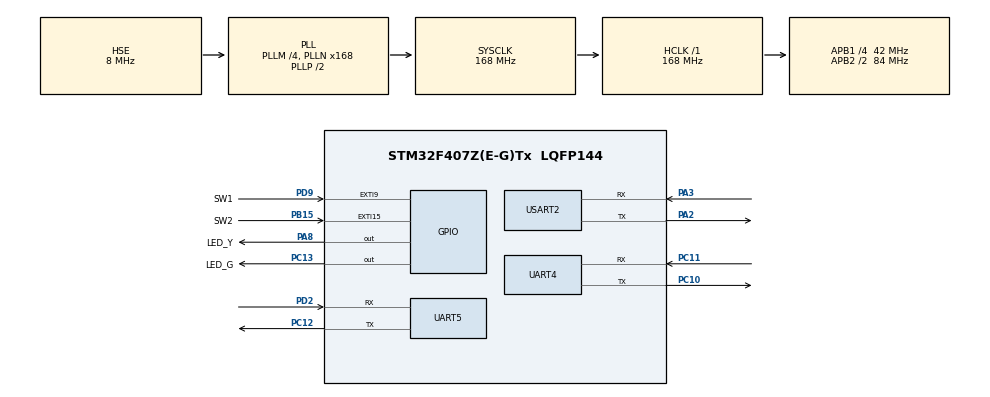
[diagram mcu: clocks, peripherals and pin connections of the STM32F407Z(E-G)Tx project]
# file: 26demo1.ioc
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Dma.Request0=USART2_RX
Dma.Request1=USART2_TX
Dma.Request2=UART4_RX
Dma.UART4_RX.2.Direction=DMA_PERIPH_TO_MEMORY
Dma.UART4_RX.2.FIFOMode=DMA_FIFOMODE_DISABLE
Dma.UART4_RX.2.Instance=DMA1_Stream2
Dma.UART4_RX.2.MemDataAlignment=DMA_MDATAALIGN_BYTE
Dma.UART4_RX.2.MemInc=DMA_MINC_DISABLE
Dma.UART4_RX.2.Mode=DMA_CIRCULAR
Dma.UART4_RX.2.PeriphDataAlignment=DMA_PDATAALIGN_BYTE
Dma.UART4_RX.2.PeriphInc=DMA_PINC_DISABLE
Dma.UART4_RX.2.Priority=DMA_PRIORITY_MEDIUM
Dma.USART2_RX.0.Direction=DMA_PERIPH_TO_MEMORY
Dma.USART2_RX.0.FIFOMode=DMA_FIFOMODE_DISABLE
Dma.USART2_RX.0.Instance=DMA1_Stream5
Dma.USART2_RX.0.MemDataAlignment=DMA_MDATAALIGN_BYTE
Dma.USART2_RX.0.MemInc=DMA_MINC_ENABLE
Dma.USART2_RX.0.Mode=DMA_NORMAL
Dma.USART2_RX.0.PeriphDataAlignment=DMA_PDATAALIGN_BYTE
Dma.USART2_RX.0.PeriphInc=DMA_PINC_DISABLE
Dma.USART2_RX.0.Priority=DMA_PRIORITY_MEDIUM
Dma.USART2_TX.1.Direction=DMA_MEMORY_TO_PERIPH
Dma.USART2_TX.1.FIFOMode=DMA_FIFOMODE_DISABLE
Dma.USART2_TX.1.Instance=DMA1_Stream6
Dma.USART2_TX.1.MemDataAlignment=DMA_MDATAALIGN_BYTE
Dma.USART2_TX.1.MemInc=DMA_MINC_ENABLE
Dma.USART2_TX.1.Mode=DMA_NORMAL
Dma.USART2_TX.1.PeriphDataAlignment=DMA_PDATAALIGN_BYTE
Dma.USART2_TX.1.PeriphInc=DMA_PINC_DISABLE
Dma.USART2_TX.1.Priority=DMA_PRIORITY_MEDIUM
Mcu.Family=STM32F4
Mcu.Name=STM32F407Z(E-G)Tx
Mcu.Package=LQFP144
NVIC.DMA1_Stream2_IRQn=true\:0\:0\:false\:false\:true\:false\:true\:true
NVIC.DMA1_Stream5_IRQn=true\:0\:0\:false\:false\:true\:false\:true\:true
NVIC.DMA1_Stream6_IRQn=true\:0\:0\:false\:false\:true\:false\:true\:true
NVIC.EXTI15_10_IRQn=true\:3\:0\:true\:false\:true\:true\:true\:true
NVIC.EXTI9_5_IRQn=true\:2\:0\:true\:false\:true\:true\:true\:true
NVIC.PriorityGroup=NVIC_PRIORITYGROUP_4
NVIC.TIM1_UP_TIM10_IRQn=true\:0\:0\:false\:false\:true\:true\:true\:true
NVIC.UART4_IRQn=true\:5\:0\:true\:false\:true\:true\:true\:true
NVIC.UART5_IRQn=true\:5\:0\:true\:false\:true\:true\:true\:true
NVIC.USART2_IRQn=true\:5\:0\:true\:false\:true\:true\:true\:true
PA13.Mode=Serial_Wire
PA13.Signal=SYS_JTMS-SWDIO
PA14.Mode=Serial_Wire
PA14.Signal=SYS_JTCK-SWCLK
PA2.Mode=Asynchronous
PA2.Signal=USART2_TX
PA3.Mode=Asynchronous
PA3.Signal=USART2_RX
PA8.GPIO_Label=LED_Y
PA8.PinState=GPIO_PIN_RESET
PA8.Signal=GPIO_Output
PB15.GPIO_Label=SW2
PB15.GPIO_ModeDefaultEXTI=GPIO_MODE_IT_FALLING
PB15.GPIO_PuPd=GPIO_PULLUP
PB15.Signal=GPXTI15
PC10.Mode=Asynchronous
PC10.Signal=UART4_TX
PC11.Mode=Asynchronous
PC11.Signal=UART4_RX
PC12.Mode=Asynchronous
PC12.Signal=UART5_TX
PC13-ANTI_TAMP.GPIO_Label=LED_G
PC13-ANTI_TAMP.PinState=GPIO_PIN_SET
PC13-ANTI_TAMP.Signal=GPIO_Output
PD2.Mode=Asynchronous
PD2.Signal=UART5_RX
PD9.GPIO_Label=SW1
PD9.GPIO_ModeDefaultEXTI=GPIO_MODE_IT_FALLING
PD9.GPIO_PuPd=GPIO_PULLUP
PD9.Signal=GPXTI9
PH0-OSC_IN.Mode=HSE-External-Oscillator
PH0-OSC_IN.Signal=RCC_OSC_IN
PH1-OSC_OUT.Mode=HSE-External-Oscillator
PH1-OSC_OUT.Signal=RCC_OSC_OUT
ProjectManager.HeapSize=0x200
ProjectManager.StackSize=0x400
ProjectManager.TargetToolchain=STM32CubeIDE
RCC.48MHZClocksFreq_Value=84000000
RCC.AHBFreq_Value=168000000
RCC.APB1CLKDivider=RCC_HCLK_DIV4
RCC.APB1Freq_Value=42000000
RCC.APB1TimFreq_Value=84000000
RCC.APB2CLKDivider=RCC_HCLK_DIV2
RCC.APB2Freq_Value=84000000
RCC.APB2TimFreq_Value=168000000
RCC.CortexFreq_Value=168000000
RCC.HCLKFreq_Value=168000000
RCC.HSE_VALUE=8000000
RCC.HSI_VALUE=16000000
RCC.LSE_VALUE=32768
RCC.PLLM=4
RCC.PLLN=168
RCC.PLLSourceVirtual=RCC_PLLSOURCE_HSE
RCC.SYSCLKFreq_VALUE=168000000
RCC.SYSCLKSource=RCC_SYSCLKSOURCE_PLLCLK
RCC.VCOOutputFreq_Value=336000000
TIM1.AutoReloadPreload=TIM_AUTORELOAD_PRELOAD_ENABLE
TIM1.Period=499
TIM1.Prescaler=16799
UART4.VirtualMode=Asynchronous
UART5.VirtualMode=Asynchronous
USART2.VirtualMode=VM_ASYNC
VP_TIM1_VS_ClockSourceINT.Mode=Internal
board=custom

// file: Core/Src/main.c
/* USER CODE BEGIN Header */
/**
  ******************************************************************************
  * @file           : main.c
  * @brief          : Main program body
  ******************************************************************************
  * @attention
  *
  * Copyright (c) 2026 STMicroelectronics.
  * All rights reserved.
  *
  * This software is licensed under terms that can be found in the LICENSE file
  * in the root directory of this software component.
  * If no LICENSE file comes with this software, it is provided AS-IS.
  *
  ******************************************************************************
  */
/* USER CODE END Header */
#include "main.h"
#include "dma.h"
#include "tim.h"
#include "usart.h"
#include "gpio.h"

/* USER CODE BEGIN Includes */
#include "Emm_V5.h"
#include "stdio.h"
#include "pid.h"
/* USER CODE END Includes */

/* USER CODE BEGIN PTD */
volatile uint8_t mode=0,last_mode=0,start=0;
volatile uint8_t SW1_state=1,SW2_state=1;
volatile int16_t last_out=0,now_out=0;
volatile uint8_t flag=0,flag1=1;
volatile uint32_t tim=0,tim_1=0,tim_2=0;
/* USER CODE END PTD */

/* USER CODE BEGIN PD */
const int16_t pulse_up[151] = {
    0, 27, 54, 81, 108, 135, 162, 189, 217, 244,
    271, 299, 326, 354, 382, 409, 437, 465, 493, 521,
    549, 577, 605, 633, 661, 690, 718, 747, 775, 804,
    832, 861, 890, 919, 948, 977, 1006, 1035, 1065, 1094,
    1124, 1153, 1183, 1212, 1242, 1272, 1302, 1332, 1362, 1393,
    1423, 1453, 1484, 1515, 1545, 1576, 1607, 1638, 1669, 1701,
    1732, 1763, 1795, 1827, 1858, 1890, 1922, 1955, 1987, 2019,
    2052, 2085, 2117, 2150, 2183, 2216, 2250, 2283, 2317, 2351,
    2385, 2419, 2453, 2487, 2522, 2556, 2591, 2626, 2662, 2697,
    2733, 2768, 2804, 2840, 2877, 2913, 2950, 2987, 3024, 3061,
    3099, 3136, 3174, 3212, 3251, 3290, 3329, 3368, 3407, 3447,
    3487, 3527, 3568, 3608, 3650, 3691, 3733, 3775, 3817, 3860,
    3903, 3946, 3990, 4034, 4079, 4124, 4169, 4215, 4262, 4308,
    4356, 4403, 4451, 4500, 4550, 4599, 4650, 4701, 4753, 4805,
    4858, 4912, 4966, 5022, 5078, 5135, 5193, 5252, 5312, 5373,
    5435
};
const int16_t pulse_down[151] = {
    0, -27, -54, -80, -107, -134, -160, -187, -213, -240,
    -266, -293, -319, -345, -372, -398, -424, -450, -476, -502,
    -528, -554, -580, -606, -632, -658, -683, -709, -735, -760,
    -786, -811, -837, -862, -888, -913, -939, -964, -989, -1015,
    -1040, -1065, -1090, -1115, -1141, -1166, -1191, -1216, -1241, -1266,
    -1291, -1316, -1340, -1365, -1390, -1415, -1440, -1464, -1489, -1514,
    -1539, -1563, -1588, -1612, -1637, -1661, -1686, -1710, -1735, -1759,
    -1784, -1808, -1833, -1857, -1881, -1906, -1930, -1954, -1978, -2003,
    -2027, -2051, -2075, -2099, -2123, -2147, -2172, -2196, -2220, -2244,
    -2268, -2292, -2316, -2340, -2364, -2387, -2411, -2435, -2459, -2483,
    -2507, -2531, -2555, -2578, -2602, -2626, -2650, -2673, -2697, -2721,
    -2744, -2768, -2792, -2816, -2839, -2863, -2886, -2910, -2934, -2957,
    -2981, -3004, -3028, -3051, -3075, -3099, -3122, -3146, -3169, -3193,
    -3216, -3240, -3263, -3286, -3310, -3333, -3357, -3380, -3404, -3427,
    -3450, -3474, -3497, -3521, -3544, -3567, -3591, -3614, -3637, -3661,
    -3684
};
/* USER CODE END PD */

/* USER CODE BEGIN PV */
/* UART4 receives one signed 8-bit vision value per interrupt. */
volatile int8_t now_position = 0;
/* USER CODE END PV */

void SystemClock_Config(void);

/* USER CODE BEGIN 0 */

void Set_positon(int16_t p){
	p=p-8;
	if(p>=0){
		Emm_V5_Pos_Control(1,1,1000,150,pulse_up[p],1,0);
		//Emm_V5_QPos_Control(1,pulse_up[p]);
	}
	else if(p<0){
		Emm_V5_Pos_Control(1,0,1000,150,-pulse_down[-p],1,0);
	}

}

void LED_state(void){
	  if(mode==0){
		  HAL_GPIO_WritePin(GPIOC,GPIO_PIN_13,GPIO_PIN_SET);
		  HAL_GPIO_WritePin(GPIOA,GPIO_PIN_8,GPIO_PIN_RESET);
	  }
	  else if(mode==1){
		  HAL_GPIO_WritePin(GPIOC,GPIO_PIN_13,GPIO_PIN_RESET);
		  HAL_GPIO_WritePin(GPIOA,GPIO_PIN_8,GPIO_PIN_RESET);
	  }
	  else if(mode==2){
	  		  HAL_GPIO_WritePin(GPIOC,GPIO_PIN_13,GPIO_PIN_SET);
	  		  HAL_GPIO_WritePin(GPIOA,GPIO_PIN_8,GPIO_PIN_SET);
	  	  }
}

void test1(void){
	int8_t position=now_position;
	char buf[16];
	int len;
	len = sprintf(buf,"\r%d", position);
	HAL_UART_Transmit(&huart5,(uint8_t *)buf,len,100);
	HAL_Delay(100);
}

uint8_t change_mode(void){
	return mode!=last_mode;
}

void mode0(void){
	if(change_mode()){	FastPID_Reset();FastPID_SetTarget(&Position,0);last_mode=mode;}
	Set_positon(now_out);
	flag=0;
	HAL_Delay(20);
}

void mode1(void){
	if(change_mode()){
		last_mode=mode;
		FastPID_Reset();
		tim_1=tim;
	}
	if(flag1==0){
		Set_positon(now_out);
		flag=0;
		HAL_Delay(20);
	}

}
void mode2(void){
	if(change_mode()){
		int8_t position=now_position;
		FastPID_Reset();FastPID_SetTarget(&Position,position);last_mode=mode;tim_2=tim;
	}
	Set_positon(now_out);
	flag=0;
	HAL_Delay(20);
}
/* USER CODE END 0 */

int main(void)
{

  /* MCU Configuration--------------------------------------------------------*/

  /* Reset of all peripherals, Initializes the Flash interface and the Systick. */
  HAL_Init();

  /* Configure the system clock */
  SystemClock_Config();

  /* Initialize all configured peripherals */
  MX_GPIO_Init();
  MX_DMA_Init();
  MX_USART2_UART_Init();
  MX_UART5_Init();
  MX_UART4_Init();
  MX_TIM1_Init();
  /* USER CODE BEGIN 2 */
  FastPID_Init();
  FastPID_SetParam(&Position,1.9f, 0.09f, 19.0f);
  FastPID_SetTarget(&Position,0);
  //Emm_V5_Modify_MicroStep(MOTOR_ADDR,true,0); //修改细分
  Emm_V5_Origin_Trigger_Return(1, 0, 0);  //触发单圈自动就近归零
  HAL_Delay(200);

  //Emm_V5_Origin_Set_O(1,1); //仅执行一�?,存储零点位置
  if(HAL_UART_Receive_DMA(&huart4,
                          (uint8_t *)&now_position,
                          1U) != HAL_OK)
  {
      Error_Handler();
  }
  HAL_TIM_Base_Start_IT(&htim1);
  /* USER CODE END 2 */

  /* Infinite loop */
  while (1)
  {

    /* USER CODE BEGIN 3 */
	  //test1();
	  if(SW1_state==0){
		  HAL_Delay(20);
		  if(HAL_GPIO_ReadPin(SW1_GPIO_Port,SW1_Pin)==0){
			  start^=1;
			  SW1_state=1;
			  while(HAL_GPIO_ReadPin(SW1_GPIO_Port,SW1_Pin)==0);
		  }
	  }
	  if(SW2_state==0){
	  		  HAL_Delay(20);
	  		  if(HAL_GPIO_ReadPin(SW2_GPIO_Port,SW2_Pin)==0){
	  			  start=0;
	  			  mode++;
	  			  if(mode>=3){
	  				  mode=0;
	  			  }
	  			  SW2_state=1;
	  			  while(HAL_GPIO_ReadPin(SW2_GPIO_Port,SW2_Pin)==0);
	  		  }
	  	  }

	  if(flag && start){
		  if(mode==0){mode0();}
		  else if(mode==1){mode1();}
		  else if(mode==2){mode2();}
	  }
	  if(mode==1 && start && flag1){
		  Set_positon(-80);
		  HAL_Delay(230);
//		  Set_positon(45);
//		  HAL_Delay(500);
		  FastPID_SetTarget(&Position,-50);
		  flag1=0;
	  }

	  LED_state();

  }
  /* USER CODE END 3 */
}

void SystemClock_Config(void)
{
  RCC_OscInitTypeDef RCC_OscInitStruct = {0};
  RCC_ClkInitTypeDef RCC_ClkInitStruct = {0};

  /** Configure the main internal regulator output voltage
  */
  __HAL_RCC_PWR_CLK_ENABLE();
  __HAL_PWR_VOLTAGESCALING_CONFIG(PWR_REGULATOR_VOLTAGE_SCALE1);
  /** Initializes the RCC Oscillators according to the specified parameters
  * in the RCC_OscInitTypeDef structure.
  */
  RCC_OscInitStruct.OscillatorType = RCC_OSCILLATORTYPE_HSE;
  RCC_OscInitStruct.HSEState = RCC_HSE_ON;
  RCC_OscInitStruct.PLL.PLLState = RCC_PLL_ON;
  RCC_OscInitStruct.PLL.PLLSource = RCC_PLLSOURCE_HSE;
  RCC_OscInitStruct.PLL.PLLM = 4;
  RCC_OscInitStruct.PLL.PLLN = 168;
  RCC_OscInitStruct.PLL.PLLP = RCC_PLLP_DIV2;
  RCC_OscInitStruct.PLL.PLLQ = 4;
  if (HAL_RCC_OscConfig(&RCC_OscInitStruct) != HAL_OK)
  {
    Error_Handler();
  }
  /** Initializes the CPU, AHB and APB buses clocks
  */
  RCC_ClkInitStruct.ClockType = RCC_CLOCKTYPE_HCLK|RCC_CLOCKTYPE_SYSCLK
                              |RCC_CLOCKTYPE_PCLK1|RCC_CLOCKTYPE_PCLK2;
  RCC_ClkInitStruct.SYSCLKSource = RCC_SYSCLKSOURCE_PLLCLK;
  RCC_ClkInitStruct.AHBCLKDivider = RCC_SYSCLK_DIV1;
  RCC_ClkInitStruct.APB1CLKDivider = RCC_HCLK_DIV4;
  RCC_ClkInitStruct.APB2CLKDivider = RCC_HCLK_DIV2;

  if (HAL_RCC_ClockConfig(&RCC_ClkInitStruct, FLASH_LATENCY_5) != HAL_OK)
  {
    Error_Handler();
  }
}

/* USER CODE BEGIN 4 */
void HAL_TIM_PeriodElapsedCallback(TIM_HandleTypeDef *htim)
{
	if(htim->Instance == TIM1)
    {
		tim++;
		int8_t position1=now_position;
		FastPID_Calc(&Position, position1);
		//if(mode==1){
		//	flag=1;
		//	now_out=Position.out;
		//}
		//else {
			int16_t change=Position.out - last_out;
			if(change==0){
				flag=0;
			}
			else{
				flag=1;
				now_out=Position.out;
				last_out=now_out;
				}
		//}

    }
}

void HAL_GPIO_EXTI_Callback(uint16_t GPIO_Pin){
	switch(GPIO_Pin)
	    {
			// SW1
			case GPIO_PIN_9:
				SW1_state=0;

			break;
			// SW2
			case GPIO_PIN_15:
				SW2_state=0;
				break;
			default:
				break;
	    }
}

/* USER CODE END 4 */

void Error_Handler(void)
{
  __disable_irq();
  while (1)
  {
  }
}
